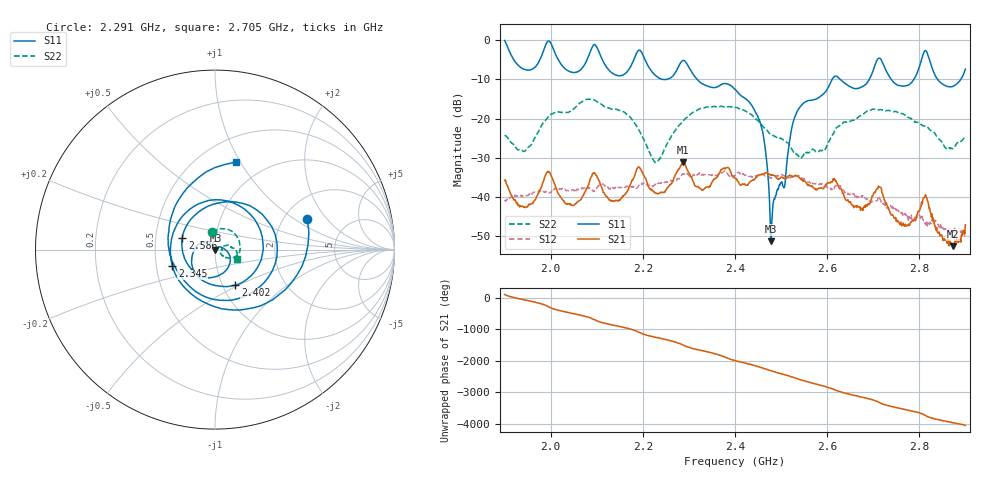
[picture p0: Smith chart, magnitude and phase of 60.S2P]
! C:\Users\rflab\Downloads\Lab5_KD_ZW\60.S2P
! Touchstone 1.1 file saved by VNA.EXE V1.65 (www.ke5fx.com/gpib/readme.htm)
! 11/11/2024 11:41:21 PM
!  Source: HEWLETT PACKARD,8753D,0,6.14
!  Min freq: 1.900000E+009 Hz
!  Max freq: 2.900000E+009 Hz
!  Points: 801
!  Params: S11 S21 S12 S22
# GHZ S RI R 50
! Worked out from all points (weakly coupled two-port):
!   801 points, 1.9 GHz to 2.9 GHz, reference 50 ohm
!   highest |S21| = -31.09 dB at 2.288 GHz (marker M1); lowest = -52.5 dB at 2.874 GHz (marker M2)
!   lowest |S11| = -51.2 dB at 2.479 GHz (marker M3), VSWR 1.01, Z = 50.2 - j0.153 ohm
!   |S11| at or under -10 dB: 2.318 GHz to 2.611 GHz (292.7 MHz wide, 11.9 % of centre); 2.628 GHz to 2.691 GHz (63.22 MHz wide, 2.38 % of centre); 2.84 GHz to 2.89 GHz (50.39 MHz wide, 1.76 % of centre) (the widest 3 of 5)
!   |S22| runs from -31.2 to -15.0 dB; largest |S21 - S12| = 0.011
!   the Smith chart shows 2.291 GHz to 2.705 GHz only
!   S11 on the Smith chart (normalised r, x): 2.291 GHz: 2.66, +1.29; 2.345 GHz: 0.61, -0.12; 2.402 GHz: 1.15, -0.48; 2.586 GHz: 0.69, +0.09; 2.705 GHz: 0.73, +0.96
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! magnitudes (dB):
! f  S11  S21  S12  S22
! 1.9 GHz  -0.1  -35.8  -40.9  -24.2
! 1.944 GHz  -7.5  -42.6  -39.6  -28.3
! 1.994 GHz  -0.3  -33.4  -38.8  -19.7
! 2.067 GHz  -7.2  -40.2  -37.7  -15.7
! 2.191 GHz  -2.5  -32.3  -37.1  -22.8
! 2.234 GHz  -9.6  -39.1  -36.4  -30.6
! 2.288 GHz  -5.2  -31.1  -34.1  -20.6
! 2.291 GHz  -5.3  -31.5  -34.3  -20.1
! 2.345 GHz  -11.9  -37.2  -34.3  -17.0
! 2.4 GHz  -12.5  -35.1  -34.6  -17.1
! 2.402 GHz  -12.8  -35.2  -33.9  -17.2
! 2.456 GHz  -21.7  -34.3  -34.3  -21.3
! 2.479 GHz  -51.2  -34.4  -35.2  -24.2
! 2.53 GHz  -19.5  -34.5  -34.8  -28.9
! 2.567 GHz  -15.3  -37.2  -36.4  -27.8
! 2.586 GHz  -14.3  -37.7  -36.7  -28.1
! 2.705 GHz  -6.0  -38.5  -41.0  -17.6
! 2.734 GHz  -9.1  -43.2  -42.8  -17.9
! 2.777 GHz  -11.4  -47.2  -44.9  -19.8
! 2.814 GHz  -2.7  -39.4  -47.0  -21.9
! 2.874 GHz  -11.8  -52.5  -50.4  -27.6
! 2.9 GHz  -7.4  -47.0  -48.5  -24.7
